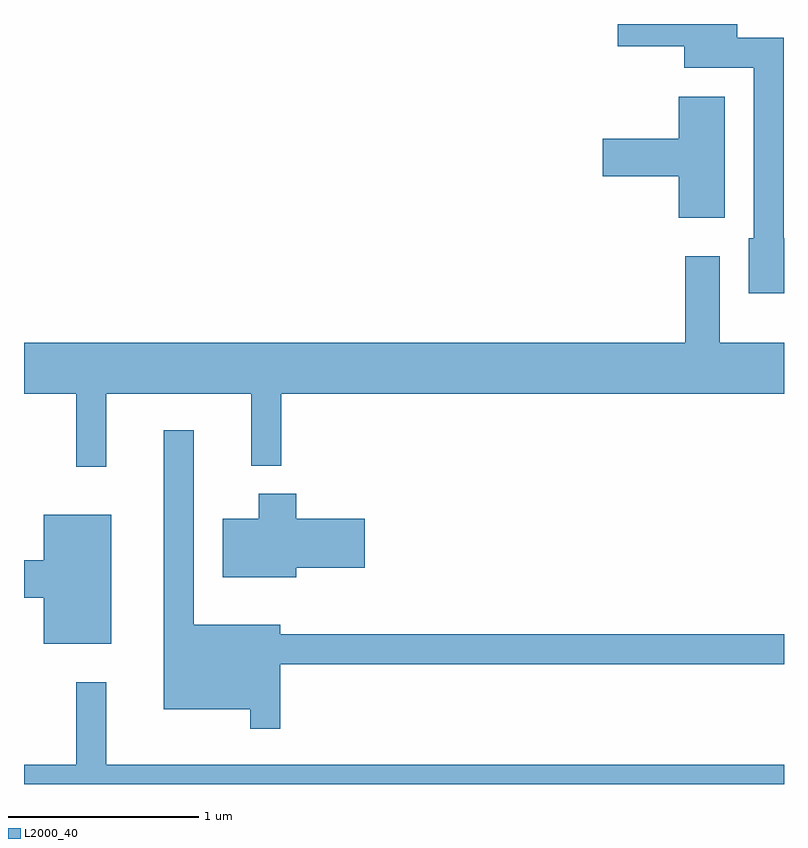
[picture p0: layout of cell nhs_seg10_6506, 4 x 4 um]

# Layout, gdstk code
import gdstk
lib = gdstk.Library(unit=1e-6, precision=1e-09)
def P(c, l, *ps):  # polygons
    for p in ps: c.add(gdstk.Polygon(p, *l))
L2000_40 = (2000, 40)

nhs_seg10_6506 = lib.new_cell('nhs_seg10_6506')
P(nhs_seg10_6506, L2000_40, [(381.611,2121.394),(381.609,2121.394),(381.609,2122.449),(381.364,2122.449),(381.364,2122.522),(380.736,2122.522),(380.736,2122.406),(381.086,2122.406),(381.086,2122.291),(381.451,2122.291),(381.451,2121.394),(381.426,2121.394),(381.426,2121.106),(381.611,2121.106)],
  [(381.299,2122.139),(381.056,2122.139),(381.056,2121.919),(380.656,2121.919),(380.656,2121.721),(381.056,2121.721),(381.056,2121.501),(381.299,2121.501)],
  [(378.044,2120.576),(378.806,2120.576),(378.806,2120.198),(378.964,2120.198),(378.964,2120.576),(381.611,2120.576),(381.611,2120.844),(381.274,2120.844),(381.274,2121.299),(381.091,2121.299),(381.091,2120.844),(377.611,2120.844),(377.611,2120.576),(377.886,2120.576),(377.886,2120.193),(378.044,2120.193)],
  [(378.959,2119.151),(381.611,2119.151),(381.611,2119.309),(378.959,2119.309),(378.959,2119.359),(378.504,2119.359),(378.504,2120.383),(378.346,2120.383),(378.346,2118.916),(378.801,2118.916),(378.801,2118.813),(378.959,2118.813)],
  [(379.044,2119.661),(379.404,2119.661),(379.404,2119.919),(379.044,2119.919),(379.044,2120.049),(378.846,2120.049),(378.846,2119.919),(378.656,2119.919),(378.656,2119.611),(379.044,2119.611)],
  [(378.069,2119.939),(377.716,2119.939),(377.716,2119.699),(377.611,2119.699),(377.611,2119.501),(377.716,2119.501),(377.716,2119.261),(378.069,2119.261)],
  [(381.611,2118.624),(378.044,2118.624),(378.044,2119.058),(377.886,2119.058),(377.886,2118.624),(377.611,2118.624),(377.611,2118.522),(381.611,2118.522)])

lib.write_gds('nhs_seg10_6506.gds')
